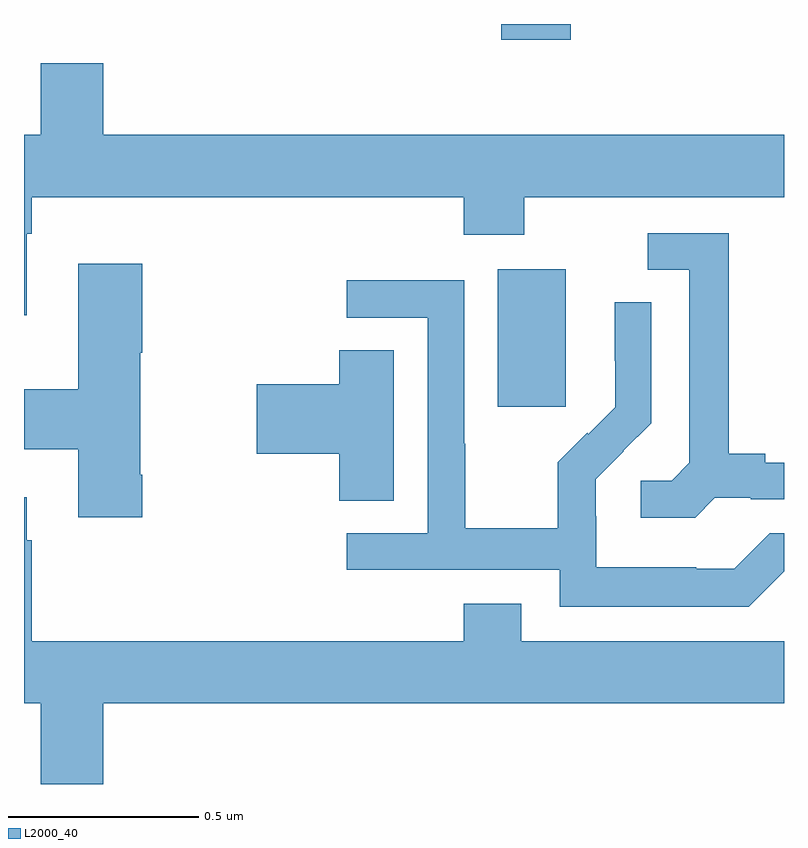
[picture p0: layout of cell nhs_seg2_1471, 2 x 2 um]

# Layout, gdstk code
import gdstk
lib = gdstk.Library(unit=1e-6, precision=1e-09)
def R(c, l, rs):  # rectangles x0, y0, x1, y1
    for r in rs: c.add(gdstk.rectangle(r[:2], r[2:], *l))
def P(c, l, *ps):  # polygons
    for p in ps: c.add(gdstk.Polygon(p, *l))
L2000_40 = (2000, 40)

nhs_seg2_1471 = lib.new_cell('nhs_seg2_1471')
R(nhs_seg2_1471, L2000_40, [(130.247,605.793,130.426,606.154), (130.256,606.759,130.439,606.8)])
P(nhs_seg2_1471, L2000_40, [(129.007,606.248),(129.02,606.248),(129.02,606.344),(130.157,606.344),(130.157,606.245),(130.317,606.245),(130.317,606.344),(131,606.344),(131,606.508),(129.208,606.508),(129.208,606.697),(129.044,606.697),(129.044,606.508),(129,606.508),(129,606.033),(129.007,606.033)],
  [(130.818,605.553),(130.912,605.553),(130.912,605.55),(131,605.55),(131,605.646),(130.951,605.646),(130.951,605.669),(130.855,605.669),(130.855,606.249),(130.641,606.249),(130.641,606.153),(130.751,606.153),(130.751,605.645),(130.704,605.598),(130.623,605.598),(130.623,605.501),(130.766,605.501)],
  [(129.311,605.614),(129.306,605.614),(129.306,605.935),(129.311,605.935),(129.311,606.169),(129.143,606.169),(129.143,605.839),(129,605.839),(129,605.681),(129.143,605.681),(129.143,605.502),(129.311,605.502)],
  [(131,605.36),(131,605.46),(130.962,605.46),(130.869,605.367),(130.769,605.367),(130.769,605.371),(130.506,605.371),(130.506,605.505),(130.504,605.505),(130.504,605.602),(130.578,605.676),(130.577,605.677),(130.65,605.75),(130.65,606.068),(130.554,606.068),(130.554,605.914),(130.556,605.914),(130.556,605.792),(130.485,605.721),(130.482,605.724),(130.405,605.647),(130.405,605.473),(130.161,605.473),(130.161,605.696),(130.158,605.696),(130.158,606.126),(129.849,606.126),(129.849,606.027),(130.062,606.027),(130.062,605.46),(129.849,605.46),(129.849,605.364),(130.41,605.364),(130.41,605.267),(130.907,605.267)],
  [(129.973,605.942),(129.83,605.942),(129.83,605.852),(129.612,605.852),(129.612,605.669),(129.83,605.669),(129.83,605.545),(129.973,605.545)],
  [(129.208,605.012),(131,605.012),(131,605.176),(130.309,605.176),(130.309,605.275),(130.157,605.275),(130.157,605.176),(129.02,605.176),(129.02,605.441),(129.007,605.441),(129.007,605.554),(129,605.554),(129,605.012),(129.044,605.012),(129.044,604.8),(129.208,604.8)])

lib.write_gds('nhs_seg2_1471.gds')
